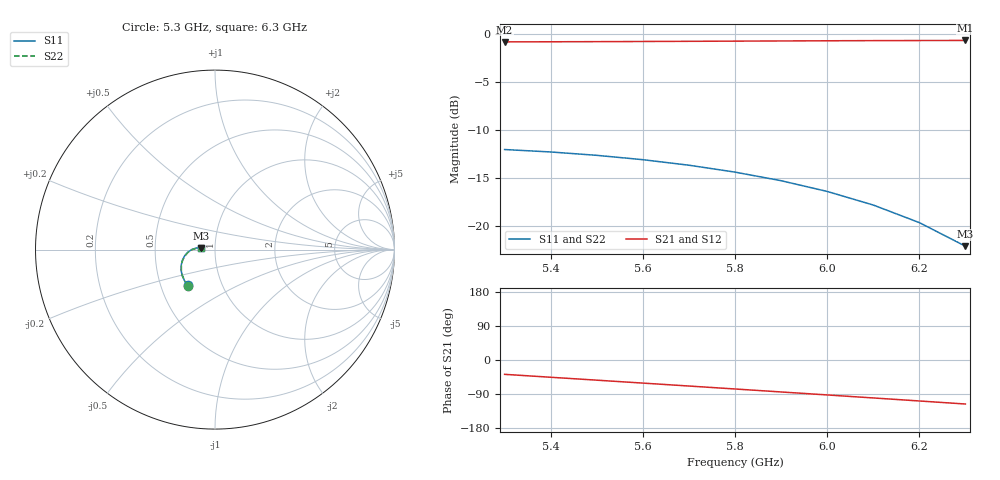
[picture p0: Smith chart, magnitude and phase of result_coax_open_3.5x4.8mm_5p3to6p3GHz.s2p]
! F04: W=3.5, L=4.8 mm; original tapers; L3 intact
! 11 direct frequencies 5.3-6.3 GHz; coax reference planes; connectors included
# Hz S RI R 50
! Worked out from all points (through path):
!   11 points, 5.3 GHz to 6.3 GHz, reference 50 ohm
!   highest |S21| = -0.66 dB at 6.3 GHz (marker M1); lowest = -0.8 dB at 5.3 GHz (marker M2)
!   group delay of S21, straight-line fit = 217 ps
!   lowest |S11| = -22.1 dB at 6.3 GHz (marker M3), VSWR 1.17, Z = 42.8 + j0.818 ohm
!   |S11| at or under -10 dB: start of sweep to end of sweep
!   |S22| runs from -22.1 to -12.0 dB; largest |S21 - S12| = 1e-12
5.3e9  -0.1514 -0.1992  0.7196 -0.5592  0.7196 -0.5592  -0.1492 -0.2008
5.4e9  -0.1699 -0.1738  0.6392 -0.6511  0.6392 -0.6511  -0.168 -0.1756
5.5e9  -0.1824 -0.1456  0.5471 -0.732  0.5471 -0.732  -0.1808 -0.1476
5.6e9  -0.1886 -0.1161  0.4447 -0.8003  0.4447 -0.8003  -0.1873 -0.1182
5.7e9  -0.1883 -0.0866  0.3334 -0.8548  0.3334 -0.8548  -0.1873 -0.0888
5.8e9  -0.1815 -0.0588  0.2149 -0.894  0.2149 -0.894  -0.1809 -0.0609
5.9e9  -0.1687 -0.034  0.0913 -0.917  0.0913 -0.917  -0.1684 -0.0361
6e9  -0.1507 -0.0137  -0.0354 -0.9227  -0.0354 -0.9227  -0.1506 -0.0157
6.1e9  -0.1285 0.000939  -0.1627 -0.9106  -0.1627 -0.9106  -0.1287 -0.00104
6.2e9  -0.1037 0.00887  -0.288 -0.8804  -0.288 -0.8804  -0.1042 0.00701
6.3e9  -0.0778 0.0095  -0.4086 -0.8321  -0.4086 -0.8321  -0.0785 0.00778
